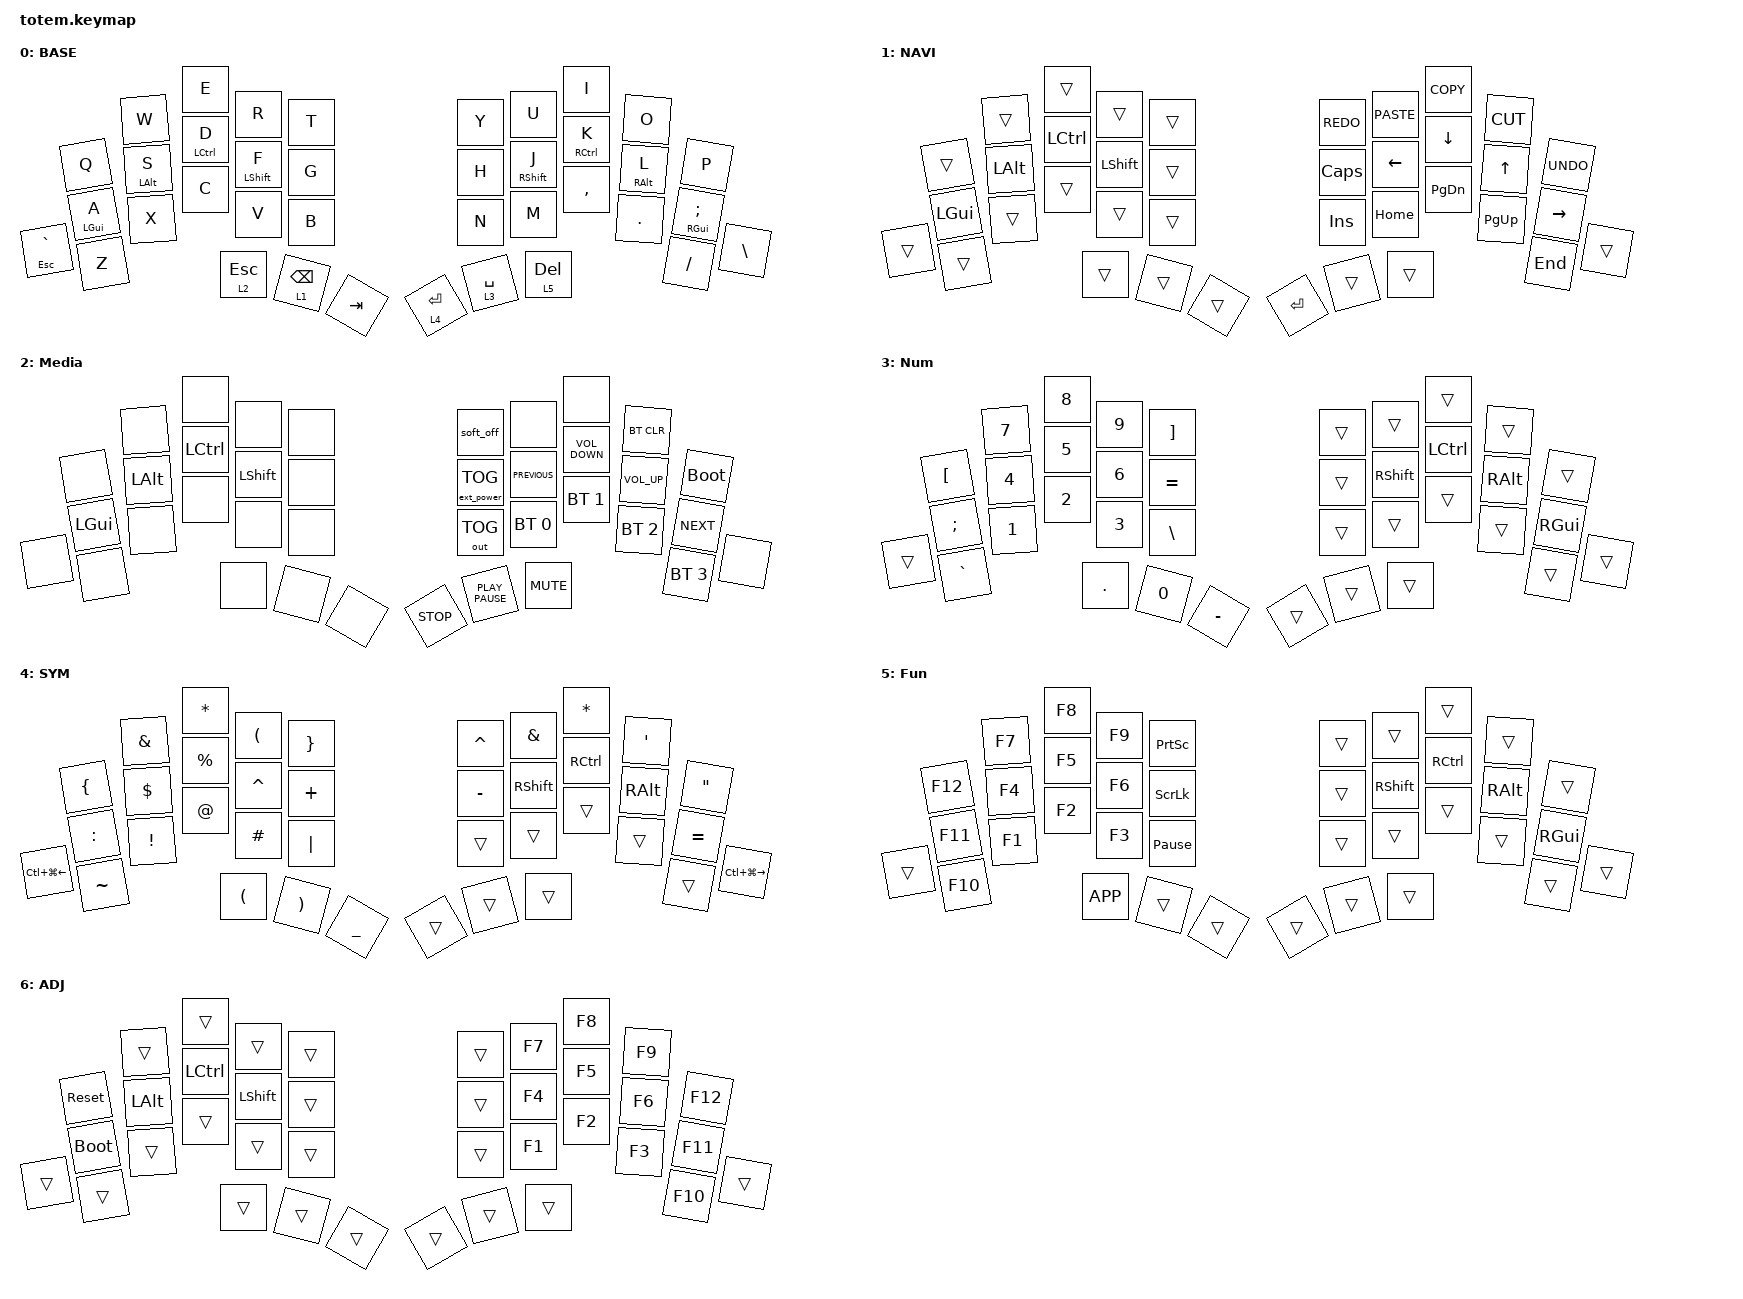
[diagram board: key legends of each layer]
//
//                                                        ▀▀▀▀▀     ▀▀▀▀▀          ▀▀█▀▀
//                                                        ▄▀▀▀▄  ▄  ▄▀▀▀▄  ▄  ▄▀▀▀▄  █  ▄▀▀▀▄
//                                                        █   █  █  █   █  █  █   █  █  █   █
//                                                         ▀▀▀   █   ▀▀▀   █   ▀▀▀   ▀   ▀▀▀
//                                                               █      ▄▄▄█▄▄▄    █   █  
//                                                               ▀      █  █  █     █▄█
//                                                             ▀▀▀▀▀    █  █  █      ▀
//                                                                      ▀  ▀  ▀
//
// ▄▄▄▄▄▄▄▄▄▄▄▄▄▄▄▄▄▄▄▄▄▄▄▄▄▄▄▄▄▄▄▄▄▄▄▄▄▄▄▄▄▄▄▄▄▄▄▄▄▄▄▄▄▄▄▄▄▄▄▄▄▄▄▄▄▄▄▄▄▄▄▄▄▄▄▄▄▄▄▄▄▄▄▄▄▄▄▄▄▄▄▄▄▄▄▄▄▄▄▄▄▄▄▄▄▄▄▄▄▄▄▄▄▄▄▄▄▄▄▄▄▄▄▄▄▄▄▄▄▄▄▄▄▄▄▄▄▄▄▄▄▄▄▄▄▄▄▄▄

#include <behaviors.dtsi>
#include <dt-bindings/zmk/bt.h>
#include <dt-bindings/zmk/ext_power.h>
#include <dt-bindings/zmk/keys.h>
#include <dt-bindings/zmk/outputs.h>

#define BASE 0
#define NAV  1
#define SYM  2
#define ADJ  3

&mt {
    quick-tap-ms = <100>;
    global-quick-tap;
    flavor = "tap-preferred";
    tapping-term-ms = <170>;
};

/ {
    combos {
        compatible = "zmk,combos";

        combo_esc {
            timeout-ms = <50>;
            key-positions = <0 1>;
            bindings = <&kp ESC>;
        };
    };

    keymap {
        compatible = "zmk,keymap";

        // ▄▄▄▄▄▄▄▄▄▄▄▄▄▄▄▄▄▄▄▄▄▄▄▄▄▄▄▄▄▄▄▄▄▄▄▄▄▄▄▄▄▄▄▄▄▄▄▄▄▄▄▄▄▄▄▄▄▄▄▄▄▄▄▄▄▄▄▄▄▄▄▄▄▄▄▄▄▄▄▄▄▄▄▄▄▄▄▄▄▄▄▄▄▄▄▄▄▄▄▄▄▄▄▄▄▄▄▄▄▄▄▄▄▄▄▄▄▄▄▄▄▄▄▄▄▄▄▄▄▄▄▄▄▄▄▄▄▄▄▄▄▄▄▄▄▄▄▄▄

        base_layer {
            // ┏━━━━━━━━━━━━━━━━━━━━━━━━━━━━━━━━━━━━━━━┓

            label = "BASE";

            // ┗━━━━━━━━━━━━━━━━━━━━━━━━━━━━━━━━━━━━━━━┛
            //             ┏━━━━━━━━━━━┳━━━━━━━━━━━┳━━━━━━━━━━━┳━━━━━━━━━━━┳━━━━━━━━━━━┓   ┏━━━━━━━━━━━┳━━━━━━━━━━━┳━━━━━━━━━━━┳━━━━━━━━━━━┳━━━━━━━━━━━┓
            //             ┃     Q     ┃     W     ┃     E     ┃     R     ┃     T     ┃   ┃     Y     ┃     U     ┃     I     ┃     O     ┃     P     ┃
            //             ┣━━━━━━━━━━━╋━━━━━━━━━━━╋━━━━━━━━━━━╋━━━━━━━━━━━╋━━━━━━━━━━━┫   ┣━━━━━━━━━━━╋━━━━━━━━━━━╋━━━━━━━━━━━╋━━━━━━━━━━━╋━━━━━━━━━━━┫
            //             ┃     A     ┃     S     ┃     D     ┃     F     ┃     G     ┃   ┃     H     ┃     J     ┃     K     ┃     L     ┃     ;     ┃
            // ┏━━━━━━━━━━━╋━━━━━━━━━━━╋━━━━━━━━━━━╋━━━━━━━━━━━╋━━━━━━━━━━━╋━━━━━━━━━━━┫   ┣━━━━━━━━━━━╋━━━━━━━━━━━╋━━━━━━━━━━━╋━━━━━━━━━━━╋━━━━━━━━━━━╋━━━━━━━━━━━┓
            // ┃     Q     ┃     Z     ┃     X     ┃     C     ┃     V     ┃     B     ┃   ┃     N     ┃     M     ┃     ,     ┃     .     ┃     /     ┃     \     ┃
            // ┗━━━━━━━━━━━┻━━━━━━━━━━━┻━━━━━━━━━━━╋━━━━━━━━━━━╋━━━━━━━━━━━╋━━━━━━━━━━━┫   ┣━━━━━━━━━━━╋━━━━━━━━━━━╋━━━━━━━━━━━╋━━━━━━━━━━━┻━━━━━━━━━━━┻━━━━━━━━━━━┛
            //                                     ┃    DEL    ┃    TAB    ┃    SPC    ┃   ┃   ENTER   ┃           ┃   BSPC    ┃
            //                                     ┗━━━━━━━━━━━┻━━━━━━━━━━━┻━━━━━━━━━━━┛   ┗━━━━━━━━━━━┻━━━━━━━━━━━┻━━━━━━━━━━━┛

            bindings = <
               &kp Q       &kp W       &kp E         &kp R        &kp T      &kp Y      &kp U            &kp I         &kp O       &kp P
               &mt LGUI A  &mt LALT S  &mt LCTRL D   &mt LSHFT F  &kp G      &kp H      &mt RSHFT J      &mt RCTRL K   &mt RALT L  &mt RGUI SEMI
&mt ESC GRAVE  &kp Z       &kp X       &kp C         &kp V        &kp B      &kp N      &kp M            &kp COMMA     &kp DOT     &kp FSLH       &kp BSLH
                                       &lt 2 ESCAPE  &lt 1 BACKSPACE  &kp TAB    &lt 4 RET  &lt 3 SPACE  &lt 5 DELETE
            >;
        };

        nav_layer {
            // ┏━━━━━━━━━━━━━━━━━━━━━━━━━━━━━━━━━━━━━━━┓

            label = "NAVI";

            // ┗━━━━━━━━━━━━━━━━━━━━━━━━━━━━━━━━━━━━━━━┛
            //             ┏━━━━━━━━━━━┳━━━━━━━━━━━┳━━━━━━━━━━━┳━━━━━━━━━━━┳━━━━━━━━━━━┓   ┏━━━━━━━━━━━┳━━━━━━━━━━━┳━━━━━━━━━━━┳━━━━━━━━━━━┳━━━━━━━━━━━┓
            //             ┃           ┃           ┃     UP    ┃           ┃     {     ┃   ┃     }     ┃     7     ┃     8     ┃     9     ┃     +     ┃
            //             ┣━━━━━━━━━━━╋━━━━━━━━━━━╋━━━━━━━━━━━╋━━━━━━━━━━━╋━━━━━━━━━━━┫   ┣━━━━━━━━━━━╋━━━━━━━━━━━╋━━━━━━━━━━━╋━━━━━━━━━━━╋━━━━━━━━━━━┫
            //             ┃   SHIFT   ┃   LEFT    ┃    DOWN   ┃   RIGHT   ┃     [     ┃   ┃     ]     ┃     4     ┃     5     ┃     6     ┃     -     ┃
            // ┏━━━━━━━━━━━╋━━━━━━━━━━━╋━━━━━━━━━━━╋━━━━━━━━━━━╋━━━━━━━━━━━╋━━━━━━━━━━━┫   ┣━━━━━━━━━━━╋━━━━━━━━━━━╋━━━━━━━━━━━╋━━━━━━━━━━━╋━━━━━━━━━━━╋━━━━━━━━━━━┓
            // ┃           ┃           ┃   P UP    ┃  C LOCK   ┃  P DOWN   ┃     (     ┃   ┃     )     ┃     1     ┃     2     ┃     3     ┃     *     ┃           ┃
            // ┗━━━━━━━━━━━┻━━━━━━━━━━━┻━━━━━━━━━━━╋━━━━━━━━━━━╋━━━━━━━━━━━╋━━━━━━━━━━━┫   ┣━━━━━━━━━━━╋━━━━━━━━━━━╋━━━━━━━━━━━╋━━━━━━━━━━━┻━━━━━━━━━━━┻━━━━━━━━━━━┛
            //                                     ┃           ┃    TAB    ┃    SPC    ┃   ┃    DEL    ┃     0     ┃           ┃
            //                                     ┗━━━━━━━━━━━┻━━━━━━━━━━━┻━━━━━━━━━━━┛   ┗━━━━━━━━━━━┻━━━━━━━━━━━┻━━━━━━━━━━━┛

            bindings = <
        &trans    &trans    &trans     &trans     &trans    &kp K_REDO    &kp K_PASTE     &kp K_COPY     &kp K_CUT     &kp K_UNDO
        &kp LGUI  &kp LALT  &kp LCTRL  &kp LSHFT  &trans    &kp CAPSLOCK  &kp LEFT_ARROW  &kp DOWN       &kp UP_ARROW  &kp RIGHT_ARROW
&trans  &trans    &trans    &trans     &trans     &trans    &kp INSERT    &kp HOME        &kp PAGE_DOWN  &kp PAGE_UP   &kp END          &trans
                            &trans     &trans     &trans    &kp RET       &trans          &trans
            >;
        };

        Media {
            bindings = <
       &none     &none     &none      &none      &none    &soft_off          &none             &none              &bt BT_CLR       &bootloader
       &kp LGUI  &kp LALT  &kp LCTRL  &kp LSHFT  &none    &ext_power EP_TOG  &kp C_PREVIOUS    &kp C_VOLUME_DOWN  &kp C_VOLUME_UP  &kp C_NEXT
&none  &none     &none     &none      &none      &none    &out OUT_TOG       &bt BT_SEL 0      &bt BT_SEL 1       &bt BT_SEL 2     &bt BT_SEL 3  &none
                           &none      &none      &none    &kp C_STOP         &kp K_PLAY_PAUSE  &kp K_MUTE
            >;

            label = "Media";
        };

        Num {
            bindings = <
        &kp LBKT   &kp N7  &kp N8   &kp N9  &kp RBKT     &trans  &trans     &trans     &trans    &trans
        &kp SEMI   &kp N4  &kp N5   &kp N6  &kp EQUAL    &trans  &kp RSHFT  &kp LCTRL  &kp RALT  &kp RGUI
&trans  &kp GRAVE  &kp N1  &kp N2   &kp N3  &kp BSLH     &trans  &trans     &trans     &trans    &trans    &trans
                           &kp DOT  &kp N0  &kp MINUS    &trans  &trans     &trans
            >;

            label = "Num";
        };

        sym_layer {
            // ┏━━━━━━━━━━━━━━━━━━━━━━━━━━━━━━━━━━━━━━━┓

            label = "SYM";

            // ┗━━━━━━━━━━━━━━━━━━━━━━━━━━━━━━━━━━━━━━━┛
            //             ┏━━━━━━━━━━━┳━━━━━━━━━━━┳━━━━━━━━━━━┳━━━━━━━━━━━┳━━━━━━━━━━━┓   ┏━━━━━━━━━━━┳━━━━━━━━━━━┳━━━━━━━━━━━┳━━━━━━━━━━━┳━━━━━━━━━━━┓
            //             ┃     !     ┃     @     ┃     #     ┃     $     ┃     %     ┃   ┃     ˆ     ┃     &     ┃     Ü     ┃     '     ┃     "     ┃
            //             ┣━━━━━━━━━━━╋━━━━━━━━━━━╋━━━━━━━━━━━╋━━━━━━━━━━━╋━━━━━━━━━━━┫   ┣━━━━━━━━━━━╋━━━━━━━━━━━╋━━━━━━━━━━━╋━━━━━━━━━━━╋━━━━━━━━━━━┫
            //             ┃     Ä     ┃           ┃    SZ     ┃           ┃           ┃   ┃   MUTE    ┃   YEN     ┃   EURO    ┃  POUND    ┃     Ö     ┃
            // ┏━━━━━━━━━━━╋━━━━━━━━━━━╋━━━━━━━━━━━╋━━━━━━━━━━━╋━━━━━━━━━━━╋━━━━━━━━━━━┫   ┣━━━━━━━━━━━╋━━━━━━━━━━━╋━━━━━━━━━━━╋━━━━━━━━━━━╋━━━━━━━━━━━╋━━━━━━━━━━━┓
            // ┃           ┃  EMAIL1   ┃  EMAIL2   ┃           ┃           ┃           ┃   ┃   VOL-    ┃   VOL+    ┃   LAST    ┃   NEXT    ┃     \     ┃           ┃
            // ┗━━━━━━━━━━━┻━━━━━━━━━━━┻━━━━━━━━━━━╋━━━━━━━━━━━╋━━━━━━━━━━━╋━━━━━━━━━━━┫   ┣━━━━━━━━━━━╋━━━━━━━━━━━╋━━━━━━━━━━━╋━━━━━━━━━━━┻━━━━━━━━━━━┻━━━━━━━━━━━┛
            //                                     ┃           ┃    GIF    ┃    ADJ    ┃   ┃           ┃           ┃           ┃
            //                                     ┗━━━━━━━━━━━┻━━━━━━━━━━━┻━━━━━━━━━━━┛   ┗━━━━━━━━━━━┻━━━━━━━━━━━┻━━━━━━━━━━━┛

            bindings = <
                        &kp LEFT_BRACE  &kp AMPERSAND  &kp STAR              &kp LEFT_PARENTHESIS   &kp RIGHT_BRACE    &kp CARET  &kp AMPS         &kp ASTERISK  &kp SQT        &kp DQT
                        &kp COLON       &kp DOLLAR     &kp PERCENT           &kp CARET              &kp PLUS           &kp MINUS  &kp RIGHT_SHIFT  &kp RCTRL     &kp RIGHT_ALT  &kp EQUAL
&kp LC(LG(LEFT_ARROW))  &kp TILDE       &kp EXCL       &kp AT                &kp HASH               &kp PIPE           &trans     &trans           &trans        &trans         &trans     &kp LC(LG(RIGHT))
                                                       &kp LEFT_PARENTHESIS  &kp RIGHT_PARENTHESIS  &kp UNDERSCORE     &trans     &trans           &trans
            >;
        };

        Fun {
            bindings = <
        &kp F12  &kp F7  &kp F8     &kp F9  &kp PRINTSCREEN    &trans  &trans     &trans     &trans    &trans
        &kp F11  &kp F4  &kp F5     &kp F6  &kp SCROLLLOCK     &trans  &kp RSHFT  &kp RCTRL  &kp RALT  &kp RGUI
&trans  &kp F10  &kp F1  &kp F2     &kp F3  &kp PAUSE_BREAK    &trans  &trans     &trans     &trans    &trans    &trans
                         &kp K_APP  &trans  &trans             &trans  &trans     &trans
            >;

            label = "Fun";
        };

        adjust_layer {
            // ┏━━━━━━━━━━━━━━━━━━━━━━━━━━━━━━━━━━━━━━━┓

            label = "ADJ";

            // ┗━━━━━━━━━━━━━━━━━━━━━━━━━━━━━━━━━━━━━━━┛
            //             ┏━━━━━━━━━━━┳━━━━━━━━━━━┳━━━━━━━━━━━┳━━━━━━━━━━━┳━━━━━━━━━━━┓   ┏━━━━━━━━━━━┳━━━━━━━━━━━┳━━━━━━━━━━━┳━━━━━━━━━━━┳━━━━━━━━━━━┓
            //             ┃   RESET   ┃ BT CLEAR  ┃  OUT TOG  ┃           ┃           ┃   ┃           ┃    F7     ┃    F8     ┃    F9     ┃    F12    ┃
            //             ┣━━━━━━━━━━━╋━━━━━━━━━━━╋━━━━━━━━━━━╋━━━━━━━━━━━╋━━━━━━━━━━━┫   ┣━━━━━━━━━━━╋━━━━━━━━━━━╋━━━━━━━━━━━╋━━━━━━━━━━━╋━━━━━━━━━━━┫
            //             ┃ BOOTLOAD  ┃ BT NEXT   ┃           ┃           ┃           ┃   ┃           ┃    F4     ┃    F5     ┃    F6     ┃    F11    ┃
            // ┏━━━━━━━━━━━╋━━━━━━━━━━━╋━━━━━━━━━━━╋━━━━━━━━━━━╋━━━━━━━━━━━╋━━━━━━━━━━━┫   ┣━━━━━━━━━━━╋━━━━━━━━━━━╋━━━━━━━━━━━╋━━━━━━━━━━━╋━━━━━━━━━━━╋━━━━━━━━━━━┓
            // ┃           ┃           ┃ BT PREV   ┃           ┃           ┃           ┃   ┃           ┃    F1     ┃    F2     ┃    F3     ┃    F10    ┃           ┃
            // ┗━━━━━━━━━━━┻━━━━━━━━━━━┻━━━━━━━━━━━╋━━━━━━━━━━━╋━━━━━━━━━━━╋━━━━━━━━━━━┫   ┣━━━━━━━━━━━╋━━━━━━━━━━━╋━━━━━━━━━━━╋━━━━━━━━━━━┻━━━━━━━━━━━┻━━━━━━━━━━━┛
            //                                     ┃           ┃           ┃           ┃   ┃           ┃           ┃           ┃
            //                                     ┗━━━━━━━━━━━┻━━━━━━━━━━━┻━━━━━━━━━━━┛   ┗━━━━━━━━━━━┻━━━━━━━━━━━┻━━━━━━━━━━━┛

            bindings = <
        &sys_reset   &trans        &trans     &trans          &trans    &trans  &kp F7  &kp F8  &kp F9  &kp F12
        &bootloader  &kp LEFT_ALT  &kp LCTRL  &kp LEFT_SHIFT  &trans    &trans  &kp F4  &kp F5  &kp F6  &kp F11
&trans  &trans       &trans        &trans     &trans          &trans    &trans  &kp F1  &kp F2  &kp F3  &kp F10  &trans
                                   &trans     &trans          &trans    &trans  &trans  &trans
            >;
        };
    };
};
